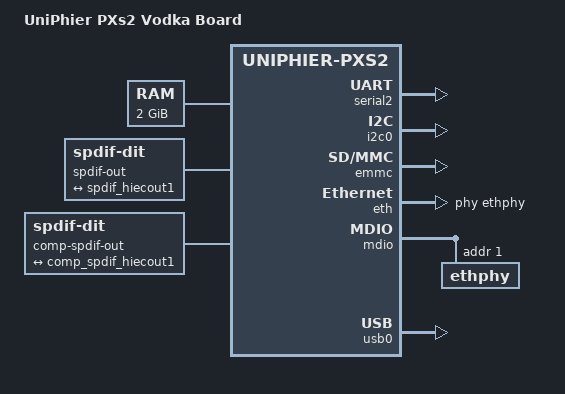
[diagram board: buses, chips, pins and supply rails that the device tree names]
// SPDX-License-Identifier: GPL-2.0+ OR MIT
//
// Device Tree Source for UniPhier PXs2 Vodka Board
//
// Copyright (C) 2015-2016 Socionext Inc.
//   Author: Masahiro Yamada <yamada.masahiro@socionext.com>

/dts-v1/;
#include "uniphier-pxs2.dtsi"

/ {
	model = "UniPhier PXs2 Vodka Board";
	compatible = "socionext,uniphier-pxs2-vodka", "socionext,uniphier-pxs2";

	chosen {
		stdout-path = "serial0:115200n8";
	};

	aliases {
		serial0 = &serial2;
		serial1 = &serial0;
		serial2 = &serial1;
		i2c0 = &i2c0;
		i2c4 = &i2c4;
		i2c5 = &i2c5;
		i2c6 = &i2c6;
	};

	memory@80000000 {
		device_type = "memory";
		reg = <0x80000000 0x80000000>;
	};

	sound {
		compatible = "audio-graph-card";
		label = "UniPhier PXs2";
		dais = <&spdif_port0
			&comp_spdif_port0>;
	};

	spdif-out {
		compatible = "linux,spdif-dit";
		#sound-dai-cells = <0>;

		port@0 {
			spdif_tx: endpoint {
				remote-endpoint = <&spdif_hiecout1>;
			};
		};
	};

	comp-spdif-out {
		compatible = "linux,spdif-dit";
		#sound-dai-cells = <0>;

		port@0 {
			comp_spdif_tx: endpoint {
				remote-endpoint = <&comp_spdif_hiecout1>;
			};
		};
	};
};

&serial2 {
	status = "okay";
};

&spdif_hiecout1 {
	remote-endpoint = <&spdif_tx>;
};

&comp_spdif_hiecout1 {
	remote-endpoint = <&comp_spdif_tx>;
};

&i2c0 {
	status = "okay";
};

&emmc {
	status = "okay";
};

&eth {
	status = "okay";
	phy-handle = <&ethphy>;
};

&mdio {
	ethphy: ethphy@1 {
		reg = <1>;
	};
};

&usb0 {
	status = "okay";
};
